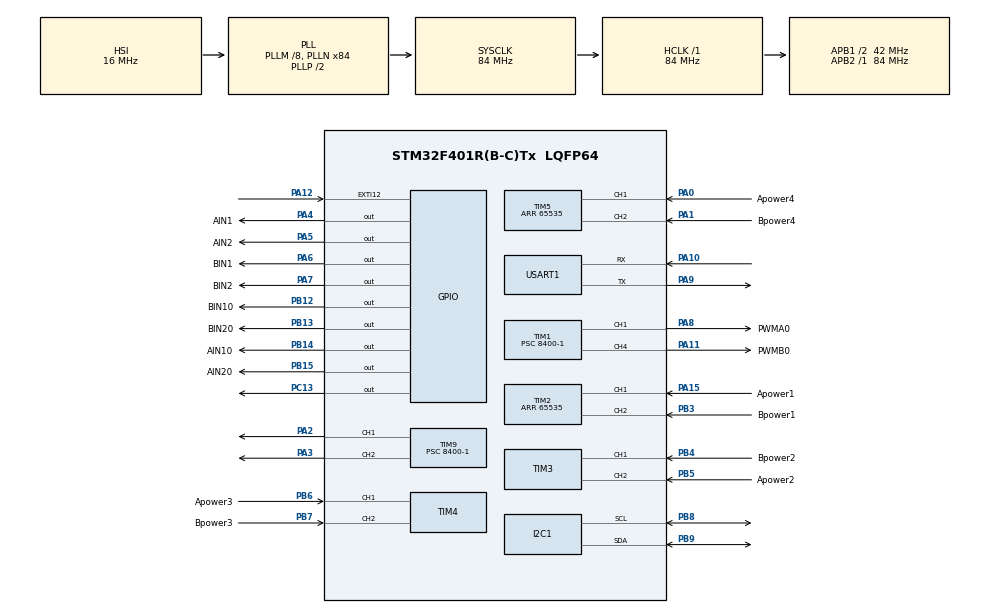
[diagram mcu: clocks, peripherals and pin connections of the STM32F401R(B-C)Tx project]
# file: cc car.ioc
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Mcu.Family=STM32F4
Mcu.Name=STM32F401R(B-C)Tx
Mcu.Package=LQFP64
NVIC.EXTI15_10_IRQn=true\:0\:0\:false\:false\:true\:true\:true\:true
NVIC.PriorityGroup=NVIC_PRIORITYGROUP_4
NVIC.TIM1_UP_TIM10_IRQn=true\:0\:0\:false\:false\:true\:true\:true\:true
NVIC.USART1_IRQn=true\:0\:0\:false\:false\:true\:true\:true\:true
PA0-WKUP.GPIO_Label=Apower4
PA0-WKUP.Signal=S_TIM5_CH1
PA1.GPIO_Label=Bpower4
PA1.Signal=S_TIM5_CH2
PA10.Mode=Asynchronous
PA10.Signal=USART1_RX
PA11.GPIO_Label=PWMB0
PA11.Signal=S_TIM1_CH4
PA12.GPIO_ModeDefaultEXTI=GPIO_MODE_IT_RISING
PA12.GPIO_PuPd=GPIO_PULLUP
PA12.Signal=GPXTI12
PA13.Mode=Serial_Wire
PA13.Signal=SYS_JTMS-SWDIO
PA14.Mode=Serial_Wire
PA14.Signal=SYS_JTCK-SWCLK
PA15.GPIO_Label=Apower1
PA15.Signal=S_TIM2_CH1_ETR
PA2.GPIO_ModeDefaultPP=GPIO_MODE_AF_PP
PA2.GPIO_PuPd=GPIO_NOPULL
PA2.GPIO_Speed=GPIO_SPEED_FREQ_LOW
PA2.Signal=S_TIM9_CH1
PA3.GPIO_ModeDefaultPP=GPIO_MODE_AF_PP
PA3.GPIO_PuPd=GPIO_NOPULL
PA3.GPIO_Speed=GPIO_SPEED_FREQ_LOW
PA3.Signal=S_TIM9_CH2
PA4.GPIO_Label=AIN1
PA4.GPIO_Speed=GPIO_SPEED_FREQ_LOW
PA4.Signal=GPIO_Output
PA5.GPIO_Label=AIN2
PA5.PinState=GPIO_PIN_SET
PA5.Signal=GPIO_Output
PA6.GPIO_Label=BIN1
PA6.GPIO_Speed=GPIO_SPEED_FREQ_LOW
PA6.Signal=GPIO_Output
PA7.GPIO_Label=BIN2
PA7.PinState=GPIO_PIN_SET
PA7.Signal=GPIO_Output
PA8.GPIO_Label=PWMA0
PA8.Signal=S_TIM1_CH1
PA9.Mode=Asynchronous
PA9.Signal=USART1_TX
PB12.GPIO_Label=BIN10
PB12.GPIO_Speed=GPIO_SPEED_FREQ_LOW
PB12.PinState=GPIO_PIN_RESET
PB12.Signal=GPIO_Output
PB13.GPIO_Label=BIN20
PB13.PinState=GPIO_PIN_SET
PB13.Signal=GPIO_Output
PB14.GPIO_Label=AIN10
PB14.GPIO_Speed=GPIO_SPEED_FREQ_LOW
PB14.PinState=GPIO_PIN_RESET
PB14.Signal=GPIO_Output
PB15.GPIO_Label=AIN20
PB15.PinState=GPIO_PIN_SET
PB15.Signal=GPIO_Output
PB3.GPIO_Label=Bpower1
PB3.Signal=S_TIM2_CH2
PB4.GPIO_Label=Bpower2
PB4.Signal=S_TIM3_CH1
PB5.GPIO_Label=Apower2
PB5.Signal=S_TIM3_CH2
PB6.GPIO_Label=Apower3
PB6.Signal=S_TIM4_CH1
PB7.GPIO_Label=Bpower3
PB7.Signal=S_TIM4_CH2
PB8.GPIO_Pu=GPIO_PULLUP
PB8.Mode=I2C
PB8.Signal=I2C1_SCL
PB9.GPIO_Pu=GPIO_PULLUP
PB9.Mode=I2C
PB9.Signal=I2C1_SDA
PC13-ANTI_TAMP.PinState=GPIO_PIN_RESET
PC13-ANTI_TAMP.Signal=GPIO_Output
PH0\ -\ OSC_IN.Mode=HSE-External-Oscillator
PH0\ -\ OSC_IN.Signal=RCC_OSC_IN
PH1\ -\ OSC_OUT.Mode=HSE-External-Oscillator
PH1\ -\ OSC_OUT.Signal=RCC_OSC_OUT
ProjectManager.HeapSize=0x200
ProjectManager.StackSize=0x400
ProjectManager.TargetToolchain=MDK-ARM V5.32
RCC.48MHZClocksFreq_Value=42000000
RCC.AHBFreq_Value=84000000
RCC.APB1CLKDivider=RCC_HCLK_DIV2
RCC.APB1Freq_Value=42000000
RCC.APB1TimFreq_Value=84000000
RCC.APB2Freq_Value=84000000
RCC.APB2TimFreq_Value=84000000
RCC.CortexFreq_Value=84000000
RCC.HCLKFreq_Value=84000000
RCC.HSE_VALUE=25000000
RCC.HSI_VALUE=16000000
RCC.LSE_VALUE=32768
RCC.PLLM=8
RCC.PLLN=84
RCC.SYSCLKFreq_VALUE=84000000
RCC.SYSCLKSource=RCC_SYSCLKSOURCE_PLLCLK
RCC.VCOOutputFreq_Value=168000000
SH.S_TIM1_CH1.0=TIM1_CH1,PWM Generation1 CH1
SH.S_TIM1_CH4.0=TIM1_CH4,PWM Generation4 CH4
SH.S_TIM2_CH1_ETR.0=TIM2_CH1,Encoder_Interface
SH.S_TIM2_CH2.0=TIM2_CH2,Encoder_Interface
SH.S_TIM3_CH1.0=TIM3_CH1,Encoder_Interface
SH.S_TIM3_CH2.0=TIM3_CH2,Encoder_Interface
SH.S_TIM4_CH1.0=TIM4_CH1,Encoder_Interface
SH.S_TIM4_CH2.0=TIM4_CH2,Encoder_Interface
SH.S_TIM5_CH1.0=TIM5_CH1,Encoder_Interface
SH.S_TIM5_CH2.0=TIM5_CH2,Encoder_Interface
SH.S_TIM9_CH1.0=TIM9_CH1,PWM Generation1 CH1
SH.S_TIM9_CH2.0=TIM9_CH2,PWM Generation2 CH2
TIM1.Channel-PWM\ Generation1\ CH1=TIM_CHANNEL_1
TIM1.Channel-PWM\ Generation4\ CH4=TIM_CHANNEL_4
TIM1.Period=100-1
TIM1.Prescaler=8400-1
TIM1.Pulse-PWM\ Generation1\ CH1=0
TIM1.Pulse-PWM\ Generation4\ CH4=0
TIM2.EncoderMode=TIM_ENCODERMODE_TI12
TIM2.Period=65535
TIM3.EncoderMode=TIM_ENCODERMODE_TI12
TIM4.EncoderMode=TIM_ENCODERMODE_TI12
TIM5.EncoderMode=TIM_ENCODERMODE_TI12
TIM5.Period=65535
TIM9.Channel-PWM\ Generation1\ CH1=TIM_CHANNEL_1
TIM9.Channel-PWM\ Generation2\ CH2=TIM_CHANNEL_2
TIM9.Period=100-1
TIM9.Prescaler=8400-1
USART1.VirtualMode=VM_ASYNC
VP_TIM9_VS_ClockSourceINT.Mode=Internal
board=custom

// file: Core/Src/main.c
/* USER CODE BEGIN Header */
/**
  ******************************************************************************
  * @file           : main.c
  * @brief          : Main program body
  ******************************************************************************
  * @attention
  *
  * Copyright (c) 2025 STMicroelectronics.
  * All rights reserved.
  *
  * This software is licensed under terms that can be found in the LICENSE file
  * in the root directory of this software component.
  * If no LICENSE file comes with this software, it is provided AS-IS.
  *
  ******************************************************************************
  */
/* USER CODE END Header */
#include "main.h"
#include "i2c.h"
#include "tim.h"
#include "usart.h"
#include "gpio.h"

/* USER CODE BEGIN Includes */

#include <pid.h>
#include <encoder.h>
#include <jy61.h>
#include <AUNO.h>
#include <stdio.h>
#include <string.h>
#include "math.h"
#include <motor.h>
#include <stdlib.h>
#include <jy61p_new.h>
/* USER CODE END Includes */

/* USER CODE BEGIN PV */
extern uint8_t RxData;
float yaw_offset = 0;  // 全局变量，记录偏移值
/* USER CODE END PV */

void SystemClock_Config(void);

/* USER CODE BEGIN 0 */
float target_yaw;       // 初始角度偏移
float NO1_yaw;

// 获取校准后的 Yaw
float JY61_GetYawCorrected(float a)
{
    //float raw = Yaw;
    float init_yaw= a - NO1_yaw;

///*角度转换*/
//	if(target1_yaw< 0)
//	{
//		target1_yaw = target1_yaw+360;
//	}
//	else
//	{
//		target1_yaw =target1_yaw;
//	}

    return init_yaw;
}
/* USER CODE END 0 */

int main(void)
{

  /* MCU Configuration--------------------------------------------------------*/

  /* Reset of all peripherals, Initializes the Flash interface and the Systick. */
  HAL_Init();

  /* Configure the system clock */
  SystemClock_Config();

  /* Initialize all configured peripherals */
  MX_GPIO_Init();
  MX_TIM1_Init();
  MX_TIM2_Init();
  MX_TIM3_Init();
  MX_TIM4_Init();
  MX_TIM5_Init();
  MX_TIM9_Init();
  MX_USART1_UART_Init();
  MX_I2C1_Init();
  /* USER CODE BEGIN 2 */
HAL_TIM_Encoder_Start (&htim2,TIM_CHANNEL_ALL);
HAL_TIM_Encoder_Start (&htim3,TIM_CHANNEL_ALL);
HAL_TIM_Encoder_Start (&htim4,TIM_CHANNEL_ALL);
HAL_TIM_Encoder_Start (&htim5,TIM_CHANNEL_ALL);
HAL_TIM_PWM_Start(&htim1, TIM_CHANNEL_1);
HAL_TIM_PWM_Start(&htim1, TIM_CHANNEL_4);
HAL_TIM_PWM_Start(&htim9, TIM_CHANNEL_1);
HAL_TIM_PWM_Start(&htim9, TIM_CHANNEL_2);
HAL_TIM_Base_Start_IT(&htim9);
HAL_TIM_Base_Start_IT(&htim2);
HAL_TIM_Base_Start_IT(&htim3);
HAL_TIM_Base_Start_IT(&htim4);
HAL_TIM_Base_Start_IT(&htim5);
HAL_TIM_Base_Start_IT(&htim1);
__HAL_UART_ENABLE_IT(&huart1,UART_IT_RXNE);
HAL_UART_Receive_IT(&huart1, &RxData, 1);

//HAL_UART_Receive_IT (	&huart1 ,angle)

uint8_t yaw_target_set = 0;   // 是否已初始化

  /* USER CODE END 2 */

  /* Infinite loop */
  /* USER CODE BEGIN WHILE */
  while (1)
  {
//if(target_yaw >0)
//{
//	HAL_GPIO_WritePin (GPIOC ,GPIO_PIN_13,GPIO_PIN_SET);
//}
//else{
//	HAL_GPIO_WritePin (GPIOC,GPIO_PIN_13 ,GPIO_PIN_RESET );
//}
//if (Yaw >0 )
//{//0-180
//    HAL_GPIO_WritePin(GPIOC, GPIO_PIN_13, GPIO_PIN_SET); //不亮
//}
//else
//{
//    HAL_GPIO_WritePin(GPIOC, GPIO_PIN_13, GPIO_PIN_RESET);  //亮

//}

    /* USER CODE END WHILE */

    /* USER CODE BEGIN 3 */

		//   printf("now_position1 = %d, Encoder_cnt = %d\n", now_position1, Encoder_cnt);

//		char sendBuffer[100];
//       sprintf(sendBuffer, "Motor1Speed: %d\r\n ",Motor1_SetSpeed );
//		//HAL_UART_Transmit_IT(&huart1, (uint8_t *)sendBuffer,strlen(sendBuffer) );
//		HAL_UART_Transmit(&huart1, (uint8_t *)sendBuffer, strlen(sendBuffer), HAL_MAX_DELAY);

  }
  /* USER CODE END 3 */
}

void SystemClock_Config(void)
{
  RCC_OscInitTypeDef RCC_OscInitStruct = {0};
  RCC_ClkInitTypeDef RCC_ClkInitStruct = {0};

  /** Configure the main internal regulator output voltage
  */
  __HAL_RCC_PWR_CLK_ENABLE();
  __HAL_PWR_VOLTAGESCALING_CONFIG(PWR_REGULATOR_VOLTAGE_SCALE2);

  /** Initializes the RCC Oscillators according to the specified parameters
  * in the RCC_OscInitTypeDef structure.
  */
  RCC_OscInitStruct.OscillatorType = RCC_OSCILLATORTYPE_HSI;
  RCC_OscInitStruct.HSIState = RCC_HSI_ON;
  RCC_OscInitStruct.HSICalibrationValue = RCC_HSICALIBRATION_DEFAULT;
  RCC_OscInitStruct.PLL.PLLState = RCC_PLL_ON;
  RCC_OscInitStruct.PLL.PLLSource = RCC_PLLSOURCE_HSI;
  RCC_OscInitStruct.PLL.PLLM = 8;
  RCC_OscInitStruct.PLL.PLLN = 84;
  RCC_OscInitStruct.PLL.PLLP = RCC_PLLP_DIV2;
  RCC_OscInitStruct.PLL.PLLQ = 4;
  if (HAL_RCC_OscConfig(&RCC_OscInitStruct) != HAL_OK)
  {
    Error_Handler();
  }

  /** Initializes the CPU, AHB and APB buses clocks
  */
  RCC_ClkInitStruct.ClockType = RCC_CLOCKTYPE_HCLK|RCC_CLOCKTYPE_SYSCLK
                              |RCC_CLOCKTYPE_PCLK1|RCC_CLOCKTYPE_PCLK2;
  RCC_ClkInitStruct.SYSCLKSource = RCC_SYSCLKSOURCE_PLLCLK;
  RCC_ClkInitStruct.AHBCLKDivider = RCC_SYSCLK_DIV1;
  RCC_ClkInitStruct.APB1CLKDivider = RCC_HCLK_DIV2;
  RCC_ClkInitStruct.APB2CLKDivider = RCC_HCLK_DIV1;

  if (HAL_RCC_ClockConfig(&RCC_ClkInitStruct, FLASH_LATENCY_2) != HAL_OK)
  {
    Error_Handler();
  }
}

void Error_Handler(void)
{
  __disable_irq();
  while (1)
  {
  }
}
